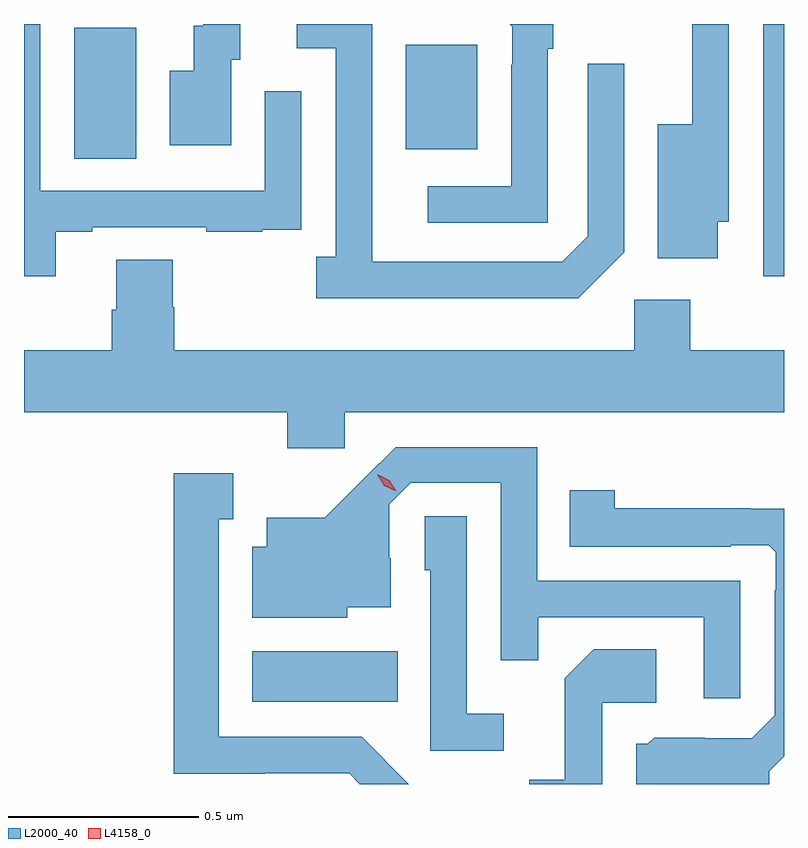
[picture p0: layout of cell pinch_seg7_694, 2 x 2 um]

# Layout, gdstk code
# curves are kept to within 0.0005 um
import gdstk
lib = gdstk.Library(unit=1e-6, precision=1e-09)
def R(c, l, rs):  # rectangles x0, y0, x1, y1
    for r in rs: c.add(gdstk.rectangle(r[:2], r[2:], *l))
def P(c, l, *ps):  # polygons
    for p in ps: c.add(gdstk.Polygon(p, *l))
L2000_40 = (2000, 40)
L4158_0 = (4158, 0)

pinch_seg7_694 = lib.new_cell('pinch_seg7_694')
R(pinch_seg7_694, L2000_40, [(155.798,1006.514,156.182,1006.648), (157.143,1007.634,157.198,1008.298), (155.33,1007.944,155.494,1008.288), (156.203,1007.969,156.391,1008.244)])
P(pinch_seg7_694, L2000_40, [(156.777,1007.697),(156.777,1008.193),(156.681,1008.193),(156.681,1007.739),(156.615,1007.673),(156.115,1007.673),(156.115,1007.873),(156.114,1007.873),(156.114,1008.298),(155.916,1008.298),(155.916,1008.234),(156.018,1008.234),(156.018,1007.686),(155.967,1007.686),(155.967,1007.576),(156.656,1007.576)],
  [(157.024,1007.777),(157.053,1007.777),(157.053,1008.298),(156.956,1008.298),(156.956,1008.034),(156.866,1008.034),(156.866,1007.682),(157.024,1007.682)],
  [(155.743,1008.204),(155.767,1008.204),(155.767,1008.298),(155.67,1008.298),(155.67,1008.294),(155.645,1008.294),(155.645,1008.175),(155.582,1008.175),(155.582,1007.979),(155.743,1007.979)],
  [(156.576,1008.233),(156.591,1008.233),(156.591,1008.298),(156.476,1008.298),(156.483,1008.291),(156.483,1008.191),(156.48,1008.191),(156.48,1007.871),(156.261,1007.871),(156.261,1007.775),(156.576,1007.775)],
  [(155.281,1007.751),(155.377,1007.751),(155.377,1007.763),(155.677,1007.763),(155.677,1007.751),(155.825,1007.751),(155.825,1007.757),(155.927,1007.757),(155.927,1007.866),(155.928,1007.866),(155.928,1008.121),(155.832,1008.121),(155.832,1007.859),(155.241,1007.859),(155.241,1008.298),(155.198,1008.298),(155.198,1007.634),(155.281,1007.634)],
  [(156.042,1007.276),(157.198,1007.276),(157.198,1007.44),(156.951,1007.44),(156.951,1007.572),(156.804,1007.572),(156.804,1007.44),(155.594,1007.44),(155.594,1007.553),(155.589,1007.553),(155.589,1007.678),(155.441,1007.678),(155.441,1007.546),(155.429,1007.546),(155.429,1007.44),(155.198,1007.44),(155.198,1007.276),(155.891,1007.276),(155.891,1007.181),(156.042,1007.181)],
  [(157.083,1006.833),(156.549,1006.833),(156.549,1007.184),(156.176,1007.184),(155.989,1006.999),(155.837,1006.999),(155.837,1006.923),(155.798,1006.923),(155.798,1006.736),(156.048,1006.736),(156.048,1006.763),(156.163,1006.763),(156.163,1006.892),(156.159,1006.892),(156.159,1007.034),(156.216,1007.091),(156.453,1007.091),(156.453,1006.624),(156.551,1006.624),(156.551,1006.737),(156.987,1006.737),(156.987,1006.524),(157.083,1006.524)],
  [(156.087,1006.422),(155.71,1006.422),(155.71,1006.995),(155.749,1006.995),(155.749,1007.116),(155.592,1007.116),(155.592,1006.325),(155.832,1006.325),(155.832,1006.326),(156.054,1006.326),(156.082,1006.298),(156.211,1006.298)],
  [(157.159,1006.332),(157.198,1006.371),(157.198,1007.023),(157.109,1007.023),(157.109,1007.024),(156.753,1007.024),(156.753,1007.071),(156.634,1007.071),(156.634,1006.923),(157.058,1006.923),(157.058,1006.926),(157.158,1006.926),(157.176,1006.908),(157.176,1006.808),(157.173,1006.808),(157.173,1006.479),(157.113,1006.419),(156.99,1006.419),(156.99,1006.42),(156.856,1006.42),(156.84,1006.404),(156.809,1006.404),(156.809,1006.298),(157.159,1006.298)],
  [(156.46,1006.483),(156.363,1006.483),(156.363,1007.003),(156.252,1007.003),(156.252,1006.86),(156.267,1006.86),(156.267,1006.386),(156.46,1006.386)],
  [(156.72,1006.512),(156.862,1006.512),(156.862,1006.652),(156.697,1006.652),(156.621,1006.576),(156.621,1006.309),(156.527,1006.309),(156.527,1006.298),(156.72,1006.298)])
P(pinch_seg7_694, L4158_0, [(156.177,1007.068),(156.146,1007.083),(156.128,1007.113),(156.128,1007.113),(156.128,1007.113),(156.159,1007.098),(156.177,1007.068),(156.177,1007.068)])

lib.write_gds('pinch_seg7_694.gds')
